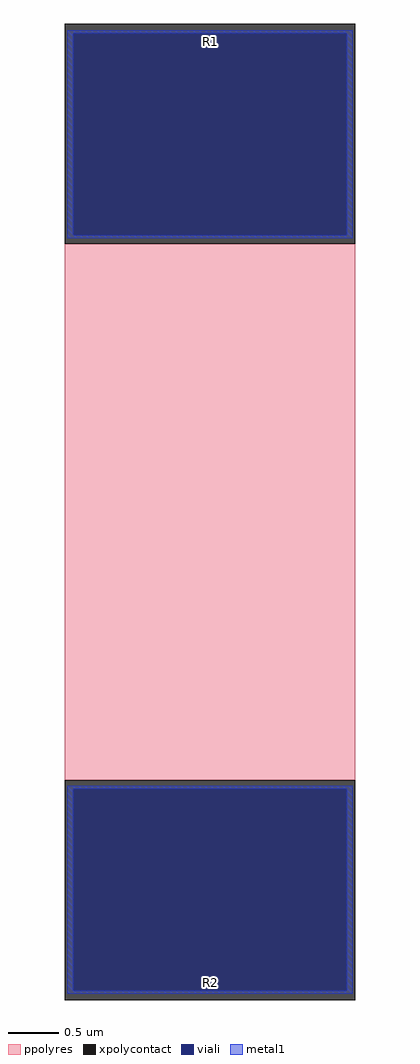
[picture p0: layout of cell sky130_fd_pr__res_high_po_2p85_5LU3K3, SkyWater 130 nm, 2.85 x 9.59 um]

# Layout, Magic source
magic
tech sky130A
magscale 1 2
<< xpolycontact >>
rect -285 527 285 959
rect -285 -959 285 -527
<< ppolyres >>
rect -285 -527 285 527
<< viali >>
rect -269 544 269 941
rect -269 -941 269 -544
<< metal1 >>
rect -281 941 281 947
rect -281 544 -269 941
rect 269 544 281 941
rect -281 538 281 544
rect -281 -544 281 -538
rect -281 -941 -269 -544
rect 269 -941 281 -544
rect -281 -947 281 -941
<< labels >>
rlabel xpolycontact 0 924 0 924 0 R1
port 1 nsew
rlabel xpolycontact 0 -924 0 -924 0 R2
port 2 nsew
<< properties >>
string gencell sky130_fd_pr__res_high_po_2p85
string library sky130
string parameters w 2.85 l 5.425 m 1 nx 1 wmin 2.850 lmin 0.50 class resistor rho 319.8 val 745.457 dummy 0 dw 0.0 term 194.82 sterm 0.0 caplen 0 guard 0 glc 1 grc 1 gtc 1 gbc 1 compatible {sky130_fd_pr__res_high_po_0p35  sky130_fd_pr__res_high_po_0p69 sky130_fd_pr__res_high_po_1p41  sky130_fd_pr__res_high_po_2p85 sky130_fd_pr__res_high_po_5p73} snake 0 full_metal 0 wmax 2.850 n_guard 0 hv_guard 0 vias 1 viagb 0 viagt 0 viagl 0 viagr 0 doports 1
<< end >>
